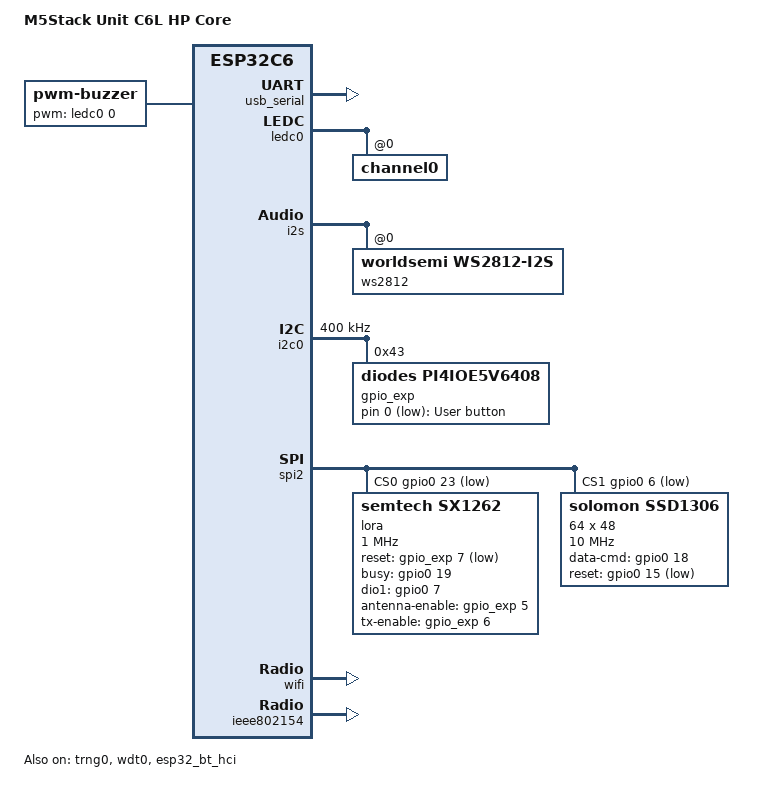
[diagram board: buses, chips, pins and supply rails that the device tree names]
/*
 * Copyright (c) 2026 Espressif Systems (Shanghai) Co., Ltd.
 *
 * SPDX-License-Identifier: Apache-2.0
 */

/dts-v1/;

#include <espressif/esp32c6/esp32c6_common.dtsi>
#include "m5stack_unitc6l_hpcore-pinctrl.dtsi"
#include "m5stack_unitc6l-grove.dtsi"
#include <espressif/partitions_0x0_default.dtsi>
#include <zephyr/dt-bindings/lora/sx126x.h>
#include <zephyr/dt-bindings/input/input-event-codes.h>
#include <zephyr/dt-bindings/led/led.h>
#include <zephyr/dt-bindings/pwm/pwm.h>

/ {
	model = "M5Stack Unit C6L HP Core";
	compatible = "m5stack,unitc6l";

	chosen {
		zephyr,sram = &sramhp;
		zephyr,code-partition = &slot0_partition;
		zephyr,console = &usb_serial;
		zephyr,shell-uart = &usb_serial;
		zephyr,ot-uart = &usb_serial;
		zephyr,flash = &flash0;
		zephyr,display = &ssd1306;
		zephyr,led-strip = &ws2812;
		zephyr,bt-hci = &esp32_bt_hci;
		zephyr,ieee802154 = &ieee802154;
	};

	aliases {
		sw0 = &user_button;
		buzzer0 = &buzzer;
		watchdog0 = &wdt0;
		led-strip = &ws2812;
		lora0 = &lora;
		i2c-1 = &grove_i2c;
	};

	buzzer: buzzer {
		compatible = "pwm-buzzer";
		pwms = <&ledc0 0 PWM_HZ(2700) PWM_POLARITY_NORMAL>;
	};

	gpio_keys {
		compatible = "gpio-keys";

		user_button: button_0 {
			label = "User button";
			gpios = <&gpio_exp 0 (GPIO_PULL_UP | GPIO_ACTIVE_LOW)>;
			zephyr,code = <INPUT_KEY_0>;
		};
	};
};

&flash0 {
	reg = <0x0 DT_SIZE_M(16)>;
	ranges = <0x0 0x0 DT_SIZE_M(16)>;
};

&dma {
	status = "okay";
};

&usb_serial {
	status = "okay";
};

&trng0 {
	status = "okay";
};

&gpio0 {
	status = "okay";
};

&wdt0 {
	status = "okay";
};

&ledc0 {
	pinctrl-0 = <&ledc0_default>;
	pinctrl-names = "default";
	status = "okay";
	#address-cells = <1>;
	#size-cells = <0>;

	channel0@0 {
		reg = <0>;
		timer = <0>;
	};
};

&i2s {
	pinctrl-0 = <&i2s_ws2812_default>;
	pinctrl-names = "default";
	status = "okay";
	dmas = <&dma 3>;
	dma-names = "tx";

	ws2812: ws2812@0 {
		compatible = "worldsemi,ws2812-i2s";
		reg = <0>;
		chain-length = <1>;
		color-mapping = <LED_COLOR_ID_GREEN
				 LED_COLOR_ID_RED
				 LED_COLOR_ID_BLUE>;
		reset-delay = <500>;
	};
};

&i2c0 {
	status = "okay";
	clock-frequency = <I2C_BITRATE_FAST>;
	pinctrl-0 = <&i2c0_default>;
	pinctrl-names = "default";

	gpio_exp: pi4ioe5v6408@43 {
		compatible = "diodes,pi4ioe5v6408";
		reg = <0x43>;
		gpio-controller;
		#gpio-cells = <2>;
		ngpios = <8>;
		/* TODO: interrupt gpio doesnt work, defaulting to polling in 50ms interval */
		/* int-gpios = <&gpio0 3 (GPIO_PULL_UP | GPIO_ACTIVE_LOW)>; */
	};
};

&spi2 {
	#address-cells = <1>;
	#size-cells = <0>;
	status = "okay";
	pinctrl-0 = <&spim2_default>;
	pinctrl-names = "default";
	cs-gpios = <&gpio0 23 GPIO_ACTIVE_LOW>,
		   <&gpio0 6 GPIO_ACTIVE_LOW>;

	lora: lora@0 {
		compatible = "semtech,sx1262";
		reg = <0>;
		spi-max-frequency = <1000000>;
		reset-gpios = <&gpio_exp 7 GPIO_ACTIVE_LOW>;
		busy-gpios = <&gpio0 19 GPIO_ACTIVE_HIGH>;
		dio1-gpios = <&gpio0 7 GPIO_ACTIVE_HIGH>;
		antenna-enable-gpios = <&gpio_exp 5 GPIO_ACTIVE_HIGH>;
		tx-enable-gpios = <&gpio_exp 6 GPIO_ACTIVE_HIGH>;
		dio3-tcxo-voltage = <SX126X_DIO3_TCXO_1V8>;
		tcxo-power-startup-delay-ms = <5>;
	};

	ssd1306: ssd1306@1 {
		compatible = "solomon,ssd1306";
		reg = <1>;
		spi-max-frequency = <10000000>;
		width = <64>;
		height = <48>;
		segment-offset = <32>;
		page-offset = <0>;
		display-offset = <0>;
		multiplex-ratio = <47>;
		segment-remap;
		com-invdir;
		prechargep = <0x22>;
		data-cmd-gpios = <&gpio0 18 GPIO_ACTIVE_HIGH>;
		reset-gpios = <&gpio0 15 GPIO_ACTIVE_LOW>;
	};
};

&wifi {
	status = "okay";
};

&ieee802154 {
	status = "okay";
};

&esp32_bt_hci {
	status = "okay";
};
